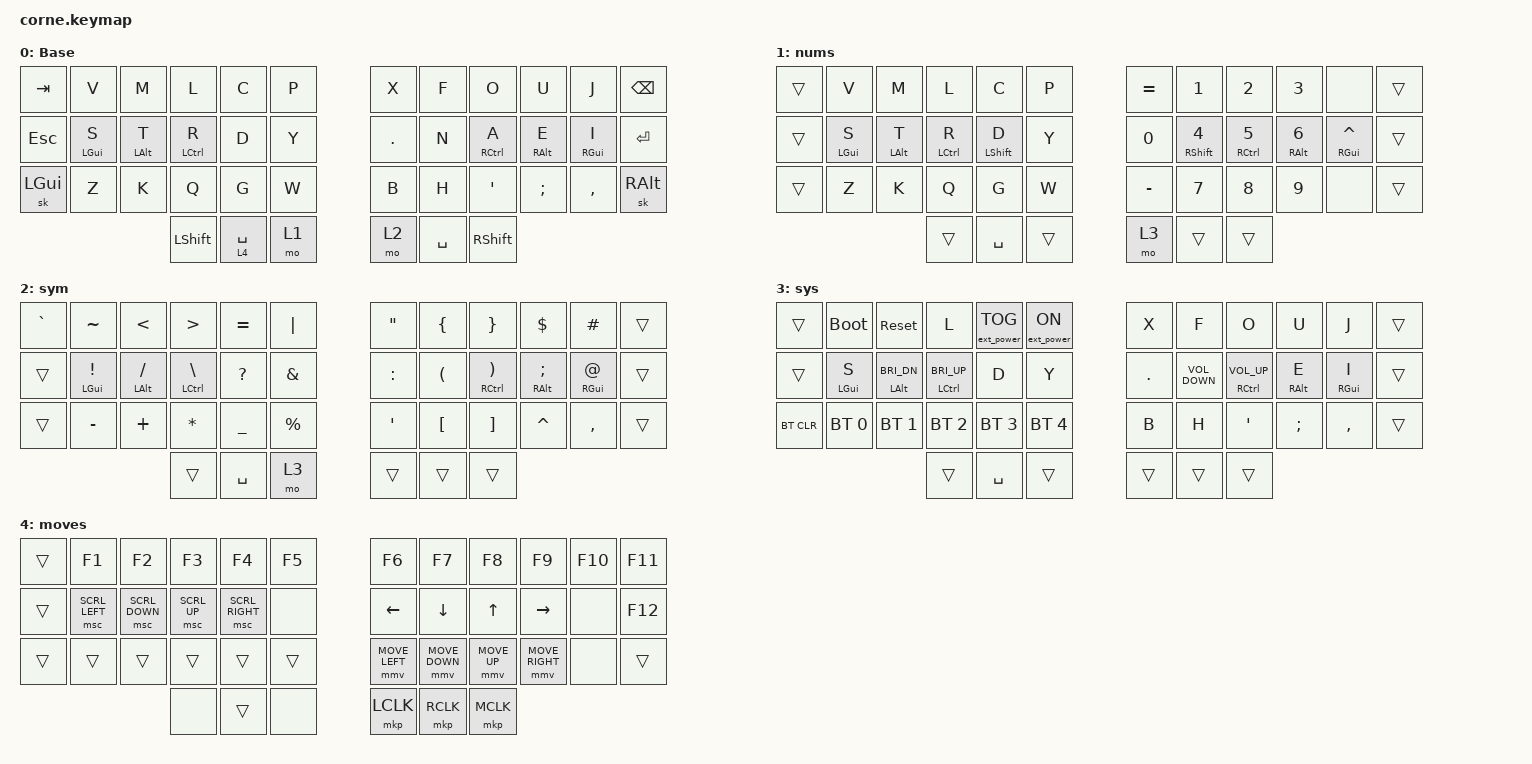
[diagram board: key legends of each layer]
/*
 * Copyright (c) 2020 The ZMK Contributors
 *
 * SPDX-License-Identifier: MIT
 */

#include <behaviors.dtsi>
#include <dt-bindings/zmk/bt.h>
#include <dt-bindings/zmk/ext_power.h>
#include <dt-bindings/zmk/keys.h>
#include <dt-bindings/zmk/pointing.h>

/ {
    behaviors {
        lhomehol: lhomehol {
            compatible = "zmk,behavior-hold-tap";
            label = "LHOMEHOL";
            bindings = <&kp>, <&kp>;

            #binding-cells = <2>;
            tapping-term-ms = <200>;
            flavor = "hold-preferred";
            hold-while-undecided;
            hold-trigger-on-release;
            hold-trigger-key-positions = <6 7 8 9 10 11 18 19 20 21 22 23 30 31 32 33 34 35 39 40 41>;
        };

        rhomehol: rhomehol {
            compatible = "zmk,behavior-hold-tap";
            label = "RHOMEHOL";
            bindings = <&kp>, <&kp>;

            #binding-cells = <2>;
            tapping-term-ms = <200>;
            flavor = "hold-preferred";
            hold-while-undecided;
            hold-trigger-on-release;
            hold-trigger-key-positions = <0 1 2 3 4 5 12 13 14 15 16 17 24 25 26 27 28 29 36 37 38>;
        };

        lhometap: lhometap {
            compatible = "zmk,behavior-hold-tap";
            label = "LHOMETAP";
            bindings = <&kp>, <&kp>;

            #binding-cells = <2>;
            tapping-term-ms = <200>;
            flavor = "tap-preferred";
            hold-trigger-on-release;
            hold-trigger-key-positions = <6 7 8 9 10 11 18 19 20 21 22 23 30 31 32 33 34 35 39 40 41>;
        };

        rhometap: rhometap {
            compatible = "zmk,behavior-hold-tap";
            label = "RHOMETAP";
            bindings = <&kp>, <&kp>;

            #binding-cells = <2>;
            tapping-term-ms = <200>;
            flavor = "tap-preferred";
            hold-trigger-on-release;
            hold-trigger-key-positions = <0 1 2 3 4 5 12 13 14 15 16 17 24 25 26 27 28 29 36 37 38>;
        };
    };

    keymap {
        compatible = "zmk,keymap";

        default_layer {
            // -----------------------------------------------------------------------------------------
            // |  TAB |  Q  |  W  |  E  |  R  |  T  |   |  Y  |  U   |  I  |  O  |  P  | BKSP |
            // | CTRL |  A  |  S  |  D  |  F  |  G  |   |  H  |  J   |  K  |  L  |  ;  |  '   |
            // | SHFT |  Z  |  X  |  C  |  V  |  B  |   |  N  |  M   |  ,  |  .  |  /  | ESC  |
            //                    | GUI | LWR | SPC |   | ENT | RSE  | ALT |

            display-name = "Base";
            bindings = <
&kp TAB   &kp V             &kp M             &kp L              &kp C        &kp P    &kp X    &kp F      &kp O              &kp U             &kp J                  &kp BSPC
&kp ESC   &lhometap LGUI S  &lhometap LALT T  &lhometap LCTRL R  &kp D        &kp Y    &kp DOT  &kp N      &rhometap RCTRL A  &rhometap RALT E  &rhometap RIGHT_GUI I  &kp ENTER
&sk LGUI  &kp Z             &kp K             &kp Q              &kp G        &kp W    &kp B    &kp H      &kp SQT            &kp SEMICOLON     &kp COMMA              &sk RALT
                                              &kp LEFT_SHIFT     &lt 4 SPACE  &mo 1    &mo 2    &kp SPACE  &kp RIGHT_SHIFT
            >;
        };

        nums {
            display-name = "nums";
            bindings = <
&trans  &kp V             &kp M             &kp L              &kp C                   &kp P     &kp EQUAL  &kp N1               &kp N2              &kp N3                   &none                      &trans
&trans  &lhometap LGUI S  &lhometap LALT T  &lhometap LCTRL R  &lhomehol LEFT_SHIFT D  &kp Y     &kp N0     &rhomehol RSHIFT N4  &rhometap RCTRL N5  &rhometap RALT NUMBER_6  &rhometap RIGHT_GUI CARET  &trans
&trans  &kp Z             &kp K             &kp Q              &kp G                   &kp W     &kp MINUS  &kp N7               &kp N8              &kp N9                   &none                      &trans
                                            &trans             &kp SPACE               &trans    &mo 3      &trans               &trans
            >;
        };

        sym {
            display-name = "sym";
            bindings = <
&kp GRAVE  &kp TILDE            &kp LT                &kp GREATER_THAN      &kp EQUAL     &kp PIPE         &kp DQT    &kp LBRC              &kp RBRC              &kp DLLR             &kp HASH                &trans
&trans     &lhometap LGUI EXCL  &lhometap LALT SLASH  &lhometap LCTRL BSLH  &kp QUESTION  &kp AMPERSAND    &kp COLON  &kp LEFT_PARENTHESIS  &rhometap RCTRL RPAR  &rhometap RALT SEMI  &rhometap RIGHT_GUI AT  &trans
&trans     &kp MINUS            &kp PLUS              &kp STAR              &kp UNDER     &kp PRCNT        &kp SQT    &kp LBKT              &kp RBKT              &kp CARET            &kp COMMA               &trans
                                                      &trans                &kp SPACE     &mo 3            &trans     &trans                &trans
            >;
        };

        sys {
            display-name = "sys";
            bindings = <
&trans      &bootloader       &sys_reset               &kp L                     &ext_power EP_TOG  &ext_power EP_ON    &kp X    &kp F              &kp O                        &kp U             &kp J                  &trans
&trans      &lhometap LGUI S  &lhometap LALT C_BRI_DN  &lhometap LCTRL C_BRI_UP  &kp D              &kp Y               &kp DOT  &kp C_VOLUME_DOWN  &rhometap RCTRL C_VOLUME_UP  &rhometap RALT E  &rhometap RIGHT_GUI I  &trans
&bt BT_CLR  &bt BT_SEL 0      &bt BT_SEL 1             &bt BT_SEL 2              &bt BT_SEL 3       &bt BT_SEL 4        &kp B    &kp H              &kp SQT                      &kp SEMICOLON     &kp COMMA              &trans
                                                       &trans                    &kp SPACE          &trans              &trans   &trans             &trans
            >;
        };

        moves {
            // -----------------------------------------------------------------------------------------
            // |  TAB |  1  |  2  |  3  |  4  |  5  |   |  6  |  7  |  8  |  9  |  0  | BKSP |
            // | BTCLR| BT1 | BT2 | BT3 | BT4 | BT5 |   | LFT | DWN |  UP | RGT |     |      |
            // | SHFT |     |     |     |     |     |   |     |     |     |     |     |      |
            //                    | GUI |     | SPC |   | ENT |     | ALT |

            display-name = "moves";
            bindings = <
&trans  &kp F1          &kp F2          &kp F3        &kp F4           &kp F5    &kp F6          &kp F7          &kp F8        &kp F9           &kp F10  &kp F11
&trans  &msc SCRL_LEFT  &msc SCRL_DOWN  &msc SCRL_UP  &msc SCRL_RIGHT  &none     &kp LEFT        &kp DOWN        &kp UP        &kp RIGHT        &none    &kp F12
&trans  &trans          &trans          &trans        &trans           &trans    &mmv MOVE_LEFT  &mmv MOVE_DOWN  &mmv MOVE_UP  &mmv MOVE_RIGHT  &none    &trans
                                        &none         &trans           &none     &mkp LCLK       &mkp RCLK       &mkp MCLK
            >;
        };
    };
};
